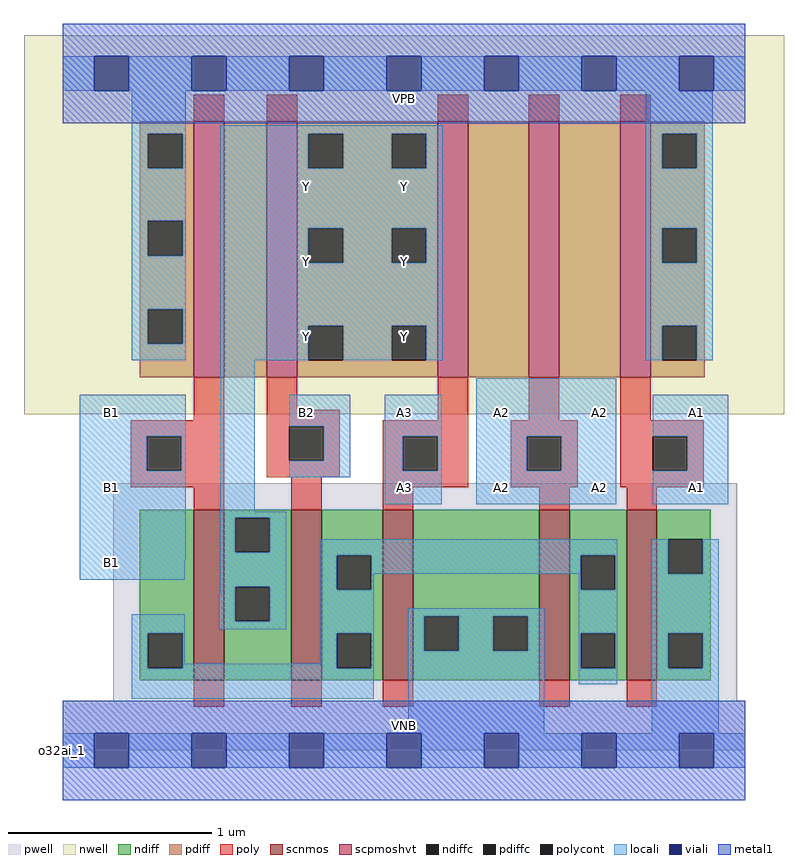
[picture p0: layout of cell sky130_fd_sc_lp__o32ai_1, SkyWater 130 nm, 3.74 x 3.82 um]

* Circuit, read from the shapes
.subckt sky130_fd_sc_lp__o32ai_1 A1 A2 A3 B1 B2 VGND VNB VPB VPWR Y
XM1 Y B1 n1 VNB sky130_fd_pr__nfet_01v8 w=0.84 l=0.15
XM2 n1 B2 Y VNB sky130_fd_pr__nfet_01v8 w=0.84 l=0.15
XM3 VGND A3 n1 VNB sky130_fd_pr__nfet_01v8 w=0.84 l=0.15
XM4 n1 A2 VGND VNB sky130_fd_pr__nfet_01v8 w=0.84 l=0.15
XM5 VGND A1 n1 VNB sky130_fd_pr__nfet_01v8 w=0.84 l=0.15
XM6 n2 B1 VPWR VPB sky130_fd_pr__pfet_01v8_hvt w=1.26 l=0.15
XM7 Y B2 n2 VPB sky130_fd_pr__pfet_01v8_hvt w=1.26 l=0.15
XM8 n3 A3 Y VPB sky130_fd_pr__pfet_01v8_hvt w=1.26 l=0.15
XM9 n4 A2 n3 VPB sky130_fd_pr__pfet_01v8_hvt w=1.26 l=0.15
XM10 VPWR A1 n4 VPB sky130_fd_pr__pfet_01v8_hvt w=1.26 l=0.15
.ends

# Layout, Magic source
magic
tech sky130A
magscale 1 2
<< nwell >>
rect -38 331 710 704
<< pwell >>
rect 50 49 664 263
rect 0 0 672 49
<< scnmos >>
rect 129 69 159 237
rect 225 69 255 237
rect 315 69 345 237
rect 469 69 499 237
rect 555 69 585 237
<< scpmoshvt >>
rect 129 367 159 619
rect 201 367 231 619
rect 369 367 399 619
rect 459 367 489 619
rect 549 367 579 619
<< ndiff >>
rect 76 115 129 237
rect 76 81 84 115
rect 118 81 129 115
rect 76 69 129 81
rect 159 229 225 237
rect 159 195 170 229
rect 204 195 225 229
rect 159 161 225 195
rect 159 127 170 161
rect 204 127 225 161
rect 159 69 225 127
rect 255 192 315 237
rect 255 158 270 192
rect 304 158 315 192
rect 255 115 315 158
rect 255 81 270 115
rect 304 81 315 115
rect 255 69 315 81
rect 345 132 469 237
rect 345 98 356 132
rect 390 98 424 132
rect 458 98 469 132
rect 345 69 469 98
rect 499 192 555 237
rect 499 158 510 192
rect 544 158 555 192
rect 499 115 555 158
rect 499 81 510 115
rect 544 81 555 115
rect 499 69 555 81
rect 585 208 638 237
rect 585 174 596 208
rect 630 174 638 208
rect 585 115 638 174
rect 585 81 596 115
rect 630 81 638 115
rect 585 69 638 81
<< pdiff >>
rect 76 607 129 619
rect 76 573 84 607
rect 118 573 129 607
rect 76 521 129 573
rect 76 487 84 521
rect 118 487 129 521
rect 76 434 129 487
rect 76 400 84 434
rect 118 400 129 434
rect 76 367 129 400
rect 159 367 201 619
rect 231 607 369 619
rect 231 573 242 607
rect 276 573 324 607
rect 358 573 369 607
rect 231 514 369 573
rect 231 480 242 514
rect 276 480 324 514
rect 358 480 369 514
rect 231 418 369 480
rect 231 384 242 418
rect 276 384 324 418
rect 358 384 369 418
rect 231 367 369 384
rect 399 367 459 619
rect 489 367 549 619
rect 579 607 632 619
rect 579 573 590 607
rect 624 573 632 607
rect 579 514 632 573
rect 579 480 590 514
rect 624 480 632 514
rect 579 418 632 480
rect 579 384 590 418
rect 624 384 632 418
rect 579 367 632 384
<< ndiffc >>
rect 84 81 118 115
rect 170 195 204 229
rect 170 127 204 161
rect 270 158 304 192
rect 270 81 304 115
rect 356 98 390 132
rect 424 98 458 132
rect 510 158 544 192
rect 510 81 544 115
rect 596 174 630 208
rect 596 81 630 115
<< pdiffc >>
rect 84 573 118 607
rect 84 487 118 521
rect 84 400 118 434
rect 242 573 276 607
rect 324 573 358 607
rect 242 480 276 514
rect 324 480 358 514
rect 242 384 276 418
rect 324 384 358 418
rect 590 573 624 607
rect 590 480 624 514
rect 590 384 624 418
<< poly >>
rect 129 619 159 645
rect 201 619 231 645
rect 369 619 399 645
rect 459 619 489 645
rect 549 619 579 645
rect 129 325 159 367
rect 67 309 159 325
rect 67 275 83 309
rect 117 275 159 309
rect 67 259 159 275
rect 201 335 231 367
rect 201 319 273 335
rect 369 325 399 367
rect 459 325 489 367
rect 549 325 579 367
rect 201 285 223 319
rect 257 285 273 319
rect 201 269 273 285
rect 315 309 399 325
rect 315 275 335 309
rect 369 275 399 309
rect 129 237 159 259
rect 225 237 255 269
rect 315 259 399 275
rect 441 309 507 325
rect 441 275 457 309
rect 491 275 507 309
rect 441 259 507 275
rect 549 309 631 325
rect 549 275 581 309
rect 615 275 631 309
rect 549 259 631 275
rect 315 237 345 259
rect 469 237 499 259
rect 555 237 585 259
rect 129 43 159 69
rect 225 43 255 69
rect 315 43 345 69
rect 469 43 499 69
rect 555 43 585 69
<< polycont >>
rect 83 275 117 309
rect 223 285 257 319
rect 335 275 369 309
rect 457 275 491 309
rect 581 275 615 309
<< locali >>
rect 0 649 31 683
rect 65 649 127 683
rect 161 649 223 683
rect 257 649 319 683
rect 353 649 415 683
rect 449 649 511 683
rect 545 649 607 683
rect 641 649 672 683
rect 68 607 121 649
rect 68 573 84 607
rect 118 573 121 607
rect 68 521 121 573
rect 68 487 84 521
rect 118 487 121 521
rect 68 434 121 487
rect 68 400 84 434
rect 118 400 121 434
rect 68 384 121 400
rect 155 607 374 615
rect 155 573 242 607
rect 276 573 324 607
rect 358 573 374 607
rect 155 514 374 573
rect 155 480 242 514
rect 276 480 324 514
rect 358 480 374 514
rect 155 418 374 480
rect 155 384 242 418
rect 276 384 324 418
rect 358 384 374 418
rect 574 607 640 649
rect 574 573 590 607
rect 624 573 640 607
rect 574 514 640 573
rect 574 480 590 514
rect 624 480 640 514
rect 574 418 640 480
rect 574 384 590 418
rect 624 384 640 418
rect 17 309 121 350
rect 17 275 83 309
rect 117 275 121 309
rect 17 187 121 275
rect 155 235 189 384
rect 223 319 283 350
rect 257 285 283 319
rect 223 269 283 285
rect 317 309 373 350
rect 317 275 335 309
rect 369 275 373 309
rect 317 242 373 275
rect 407 309 545 366
rect 407 275 457 309
rect 491 275 545 309
rect 407 242 545 275
rect 581 309 655 350
rect 615 275 655 309
rect 581 242 655 275
rect 155 229 220 235
rect 155 195 170 229
rect 204 195 220 229
rect 17 168 120 187
rect 155 161 220 195
rect 155 153 170 161
rect 68 115 120 134
rect 154 127 170 153
rect 204 127 220 161
rect 154 119 220 127
rect 254 192 546 208
rect 254 158 270 192
rect 304 174 510 192
rect 304 158 306 174
rect 68 81 84 115
rect 118 85 120 115
rect 254 115 306 158
rect 508 158 510 174
rect 544 158 546 192
rect 254 85 270 115
rect 118 81 270 85
rect 304 81 306 115
rect 68 51 306 81
rect 340 132 474 140
rect 340 98 356 132
rect 390 98 424 132
rect 458 98 474 132
rect 340 17 474 98
rect 508 115 546 158
rect 508 81 510 115
rect 544 81 546 115
rect 508 65 546 81
rect 580 174 596 208
rect 630 174 646 208
rect 580 115 646 174
rect 580 81 596 115
rect 630 81 646 115
rect 580 17 646 81
rect 0 -17 31 17
rect 65 -17 127 17
rect 161 -17 223 17
rect 257 -17 319 17
rect 353 -17 415 17
rect 449 -17 511 17
rect 545 -17 607 17
rect 641 -17 672 17
<< viali >>
rect 31 649 65 683
rect 127 649 161 683
rect 223 649 257 683
rect 319 649 353 683
rect 415 649 449 683
rect 511 649 545 683
rect 607 649 641 683
rect 31 -17 65 17
rect 127 -17 161 17
rect 223 -17 257 17
rect 319 -17 353 17
rect 415 -17 449 17
rect 511 -17 545 17
rect 607 -17 641 17
<< metal1 >>
rect 0 683 672 715
rect 0 649 31 683
rect 65 649 127 683
rect 161 649 223 683
rect 257 649 319 683
rect 353 649 415 683
rect 449 649 511 683
rect 545 649 607 683
rect 641 649 672 683
rect 0 617 672 649
rect 0 17 672 49
rect 0 -17 31 17
rect 65 -17 127 17
rect 161 -17 223 17
rect 257 -17 319 17
rect 353 -17 415 17
rect 449 -17 511 17
rect 545 -17 607 17
rect 641 -17 672 17
rect 0 -49 672 -17
<< labels >>
flabel pwell s 0 0 672 49 0 FreeSans 200 0 0 0 VNB
port 7 nsew ground bidirectional
flabel nwell s 0 617 672 666 0 FreeSans 200 0 0 0 VPB
port 8 nsew power bidirectional
rlabel comment s 0 0 0 0 4 o32ai_1
flabel metal1 s 0 617 672 666 0 FreeSans 340 0 0 0 VPWR
port 9 nsew power bidirectional
flabel metal1 s 0 0 672 49 0 FreeSans 340 0 0 0 VGND
port 6 nsew ground bidirectional
flabel locali s 607 242 641 276 0 FreeSans 340 0 0 0 A1
port 1 nsew signal input
flabel locali s 607 316 641 350 0 FreeSans 340 0 0 0 A1
port 1 nsew signal input
flabel locali s 415 242 449 276 0 FreeSans 340 0 0 0 A2
port 2 nsew signal input
flabel locali s 415 316 449 350 0 FreeSans 340 0 0 0 A2
port 2 nsew signal input
flabel locali s 511 242 545 276 0 FreeSans 340 0 0 0 A2
port 2 nsew signal input
flabel locali s 511 316 545 350 0 FreeSans 340 0 0 0 A2
port 2 nsew signal input
flabel locali s 319 242 353 276 0 FreeSans 340 0 0 0 A3
port 3 nsew signal input
flabel locali s 319 316 353 350 0 FreeSans 340 0 0 0 A3
port 3 nsew signal input
flabel locali s 223 390 257 424 0 FreeSans 340 0 0 0 Y
port 10 nsew signal output
flabel locali s 223 464 257 498 0 FreeSans 340 0 0 0 Y
port 10 nsew signal output
flabel locali s 223 538 257 572 0 FreeSans 340 0 0 0 Y
port 10 nsew signal output
flabel locali s 31 168 65 202 0 FreeSans 340 0 0 0 B1
port 4 nsew signal input
flabel locali s 31 242 65 276 0 FreeSans 340 0 0 0 B1
port 4 nsew signal input
flabel locali s 31 316 65 350 0 FreeSans 340 0 0 0 B1
port 4 nsew signal input
flabel locali s 223 316 257 350 0 FreeSans 340 0 0 0 B2
port 5 nsew signal input
flabel locali s 319 390 353 424 0 FreeSans 340 0 0 0 Y
port 10 nsew signal output
flabel locali s 319 464 353 498 0 FreeSans 340 0 0 0 Y
port 10 nsew signal output
flabel locali s 319 538 353 572 0 FreeSans 340 0 0 0 Y
port 10 nsew signal output
<< properties >>
string LEFsite unit
string LEFclass CORE
string FIXED_BBOX 0 0 672 666
string GDS_FILE $PDKPATH/libs.ref/sky130_fd_sc_lp/gds/sky130_fd_sc_lp.gds
string LEFsymmetry X Y R90
string GDS_END 2011574
string GDS_START 2003788
<< end >>
